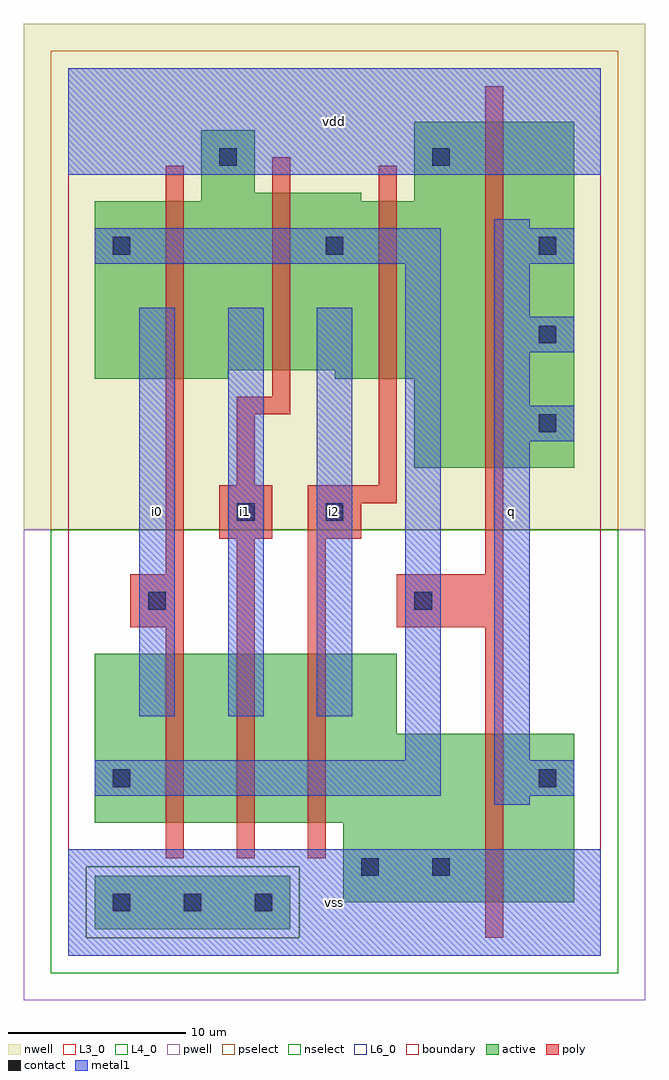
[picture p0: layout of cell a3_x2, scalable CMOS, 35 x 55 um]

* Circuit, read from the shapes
.subckt a3_x2 i0 i1 i2 q vdd vss
M1 n1 i0 n2 vss nfet w=9.5u l=1u
M2 n3 i1 n1 vss nfet w=9.5u l=1u
M3 vss i2 n3 vss nfet w=9.5u l=1u
M4 q n2 vss vss nfet w=9.5u l=1u
M5 vdd i0 n2 n4 pfet w=10u l=1u
M6 n2 i1 vdd n4 pfet w=10u l=1u
M7 vdd i2 n2 n4 pfet w=10u l=1u
M8 q n2 vdd n4 pfet w=19.5u l=1u
.ends

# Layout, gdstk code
import gdstk
lib = gdstk.Library(unit=1e-6, precision=1e-09)
def R(c, l, rs):  # rectangles x0, y0, x1, y1
    for r in rs: c.add(gdstk.rectangle(r[:2], r[2:], *l))
def A(c, l, x, y, w, h, nx, ny, dx, dy):  # array of equal rectangles
    R(c, l, [(x+i*dx, y+j*dy, x+i*dx+w, y+j*dy+h) for i in range(nx) for j in range(ny)])
L3_0 = (3, 0)
L4_0 = (4, 0)
L6_0 = (6, 0)
contact = (25, 0)
pwell = (41, 0)
nwell = (42, 0)
active = (43, 0)
pselect = (44, 0)
nselect = (45, 0)
poly = (46, 0)
metal1 = (49, 0)
boundary = (63, 0)

a3_x2 = lib.new_cell('a3_x2')
R(a3_x2, L3_0, [(15.5,3,28.5,7.5), (1.5,7.5,28.5,12.5), (1.5,12.5,18.5,17)])
R(a3_x2, L4_0, [(19.5,27.5,28.5,32.5), (1.5,32.5,9,33), (15,32.5,28.5,33), (1.5,33,28.5,42.5), (7.5,42.5,16.5,43), (19.5,42.5,28.5,47), (7.5,43,10.5,46.5)])
R(a3_x2, L6_0, [(1.5,1.5,12.5,4.5)])
A(a3_x2, contact, 2.5, 2.5, 1, 1, 3, 1, 4, 0)
A(a3_x2, contact, 2.5, 39.5, 1, 1, 3, 1, 12, 0)
R(a3_x2, contact, [(16.5,4.5,17.5,5.5), (20.5,4.5,21.5,5.5), (2.5,9.5,3.5,10.5), (26.5,9.5,27.5,10.5), (4.5,19.5,5.5,20.5), (19.5,19.5,20.5,20.5), (9.5,24.5,10.5,25.5), (14.5,24.5,15.5,25.5), (26.5,29.5,27.5,30.5), (26.5,34.5,27.5,35.5), (8.5,44.5,9.5,45.5), (20.5,44.5,21.5,45.5)])
R(a3_x2, pwell, [(-2.5,-2.5,32.5,24)])
R(a3_x2, nwell, [(-2.5,24,32.5,52.5)])
R(a3_x2, active, [(1.5,1.5,12.5,4.5), (15.5,3,28.5,7.5), (1.5,7.5,28.5,12.5), (1.5,12.5,18.5,17), (19.5,27.5,28.5,32.5), (1.5,32.5,9,33), (15,32.5,28.5,33), (1.5,33,28.5,42.5), (7.5,42.5,16.5,43), (19.5,42.5,28.5,47), (7.5,43,10.5,46.5)])
R(a3_x2, pselect, [(1,1,13,5), (-1,24,31,51)])
R(a3_x2, nselect, [(-1,-1,31,1), (-1,1,1,5), (13,1,31,5), (-1,5,31,24)])
R(a3_x2, poly, [(23.5,1,24.5,18.5), (5.5,5.5,6.5,18.5), (9.5,5.5,10.5,23.5), (13.5,5.5,14.5,23.5), (3.5,18.5,6.5,21.5), (18.5,18.5,24.5,21.5), (5.5,21.5,6.5,44.5), (23.5,21.5,24.5,49), (8.5,23.5,11.5,26.5), (13.5,23.5,16.5,25.5), (13.5,25.5,18.5,26.5), (9.5,26.5,10.5,30.5), (17.5,26.5,18.5,44.5), (9.5,30.5,12.5,31.5), (11.5,31.5,12.5,45)])
R(a3_x2, metal1, [(0,0,30,6), (0,0,30,6), (24,8.5,26,9), (24,8.5,26,9), (1.5,9,21,11), (1.5,9,21,11), (24,9,28.5,11), (24,9,28.5,11), (19,11,21,39), (19,11,21,39), (24,11,26,29), (24,11,26,29), (4,13.5,6,36.5), (4,13.5,6,36.5), (9,13.5,11,36.5), (9,13.5,11,36.5), (14,13.5,16,36.5), (14,13.5,16,36.5), (24,29,28.5,31), (24,29,28.5,31), (24,31,26,34), (24,31,26,34), (24,34,28.5,36), (24,34,28.5,36), (24,36,26,39), (24,36,26,39), (1.5,39,21,41), (1.5,39,21,41), (24,39,28.5,41), (24,39,28.5,41), (24,41,26,41.5), (24,41,26,41.5), (0,44,30,50), (0,44,30,50)])
R(a3_x2, boundary, [(0,0,30,50)])
a3_x2.add(gdstk.Label('i0', (5,25), layer=49, texttype=0))
a3_x2.add(gdstk.Label('i1', (10,25), layer=49, texttype=0))
a3_x2.add(gdstk.Label('vss', (15,3), layer=49, texttype=0))
a3_x2.add(gdstk.Label('i2', (15,25), layer=49, texttype=0))
a3_x2.add(gdstk.Label('vdd', (15,47), layer=49, texttype=0))
a3_x2.add(gdstk.Label('q', (25,25), layer=49, texttype=0))

lib.write_gds('a3_x2.gds')
